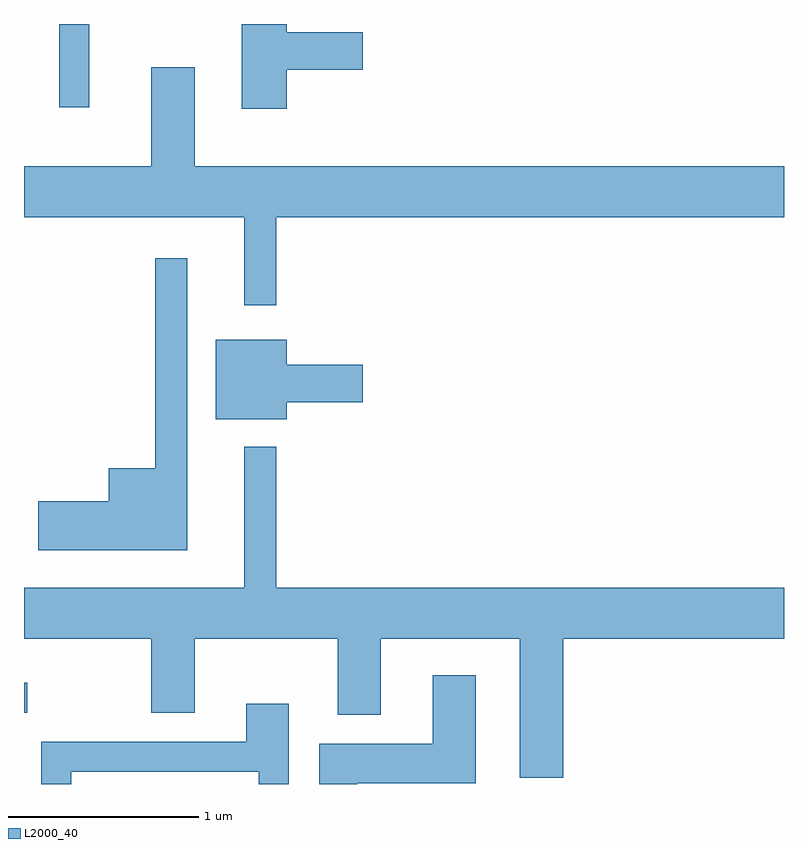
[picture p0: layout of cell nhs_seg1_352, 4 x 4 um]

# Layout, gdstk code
import gdstk
lib = gdstk.Library(unit=1e-6, precision=1e-09)
def R(c, l, rs):  # rectangles x0, y0, x1, y1
    for r in rs: c.add(gdstk.rectangle(r[:2], r[2:], *l))
def P(c, l, *ps):  # polygons
    for p in ps: c.add(gdstk.Polygon(p, *l))
L2000_40 = (2000, 40)

nhs_seg1_352 = lib.new_cell('nhs_seg1_352')
R(nhs_seg1_352, L2000_40, [(195.611,888.086,195.628,888.244), (195.796,891.273,195.954,891.712)])
P(nhs_seg1_352, L2000_40, [(196.994,891.471),(197.394,891.471),(197.394,891.669),(196.994,891.669),(196.994,891.712),(196.756,891.712),(196.756,891.266),(196.994,891.266)],
  [(196.939,890.696),(199.611,890.696),(199.611,890.964),(196.509,890.964),(196.509,891.484),(196.281,891.484),(196.281,890.964),(195.611,890.964),(195.611,890.696),(196.771,890.696),(196.771,890.233),(196.939,890.233)],
  [(196.469,890.478),(196.301,890.478),(196.301,889.374),(196.056,889.374),(196.056,889.199),(195.686,889.199),(195.686,888.941),(196.469,888.941)],
  [(196.994,889.721),(197.394,889.721),(197.394,889.919),(196.994,889.919),(196.994,890.049),(196.621,890.049),(196.621,889.631),(196.994,889.631)],
  [(198.449,888.476),(199.611,888.476),(199.611,888.744),(196.939,888.744),(196.939,889.488),(196.771,889.488),(196.771,888.744),(195.611,888.744),(195.611,888.476),(196.281,888.476),(196.281,888.086),(196.509,888.086),(196.509,888.476),(197.261,888.476),(197.261,888.076),(197.489,888.076),(197.489,888.476),(198.221,888.476),(198.221,887.746),(198.449,887.746)],
  [(197.364,887.716),(197.989,887.716),(197.989,888.284),(197.761,888.284),(197.761,887.924),(197.166,887.924),(197.166,887.712),(197.364,887.712)],
  [(195.859,887.776),(196.846,887.776),(196.846,887.712),(197.004,887.712),(197.004,888.134),(196.781,888.134),(196.781,887.934),(195.701,887.934),(195.701,887.712),(195.859,887.712)])

lib.write_gds('nhs_seg1_352.gds')
